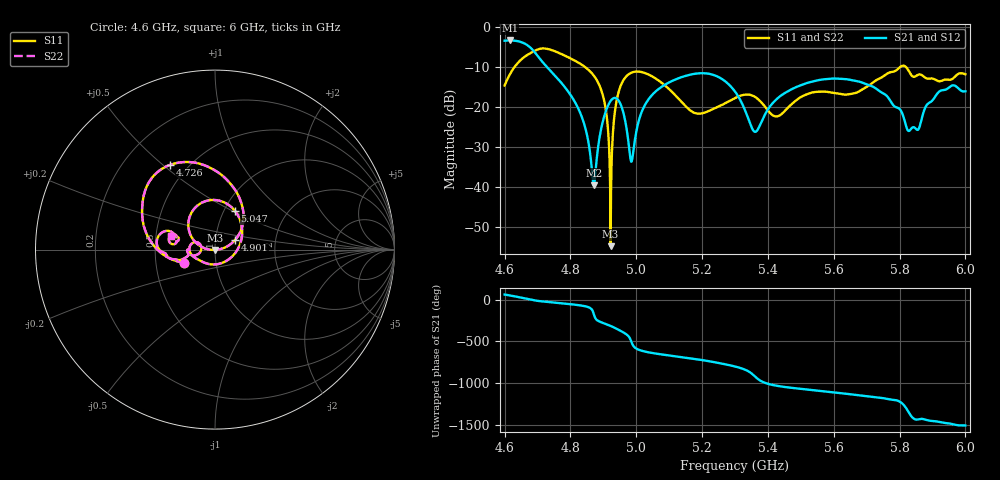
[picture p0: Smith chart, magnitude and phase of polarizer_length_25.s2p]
! TOUCHSTONE file generated by CST MICROWAVE STUDIO
! Date and time: Sun Dec  1 17:17:05 2024
! Project name: test_tuning.cst
! Parameters = {airCoaxOuterDiameter=3; chamferAngle=45; chamferWidth=24; connectorLength=10; drillingHoleDiameter=4.1; feedLength=60; flareDiameter=130; flareLength=70; gratingDistance=0; gratingGap=1.90274; outletLength=30; polarizerLength=112; probe1Diameter=1.3; probe1Distance=14; probe1Length=1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
! Header version: 2024
! Port assignment regex: !\s*Touchstone port\s*([0-9]+)\s*=\s*(CST MWS port|CST DES external port|CST DES block port)\s*(.+)\s* \(\"(.*)\"\)(\s*mode\s*([0-9]+))?.*
! Touchstone port assignment:
! Touchstone port 1 = CST MWS port 1 ("Input1")
! Touchstone port 2 = CST MWS port 2 ("Input2")
# GHz S MA R 50
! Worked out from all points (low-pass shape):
!   1001 points, 4.6 GHz to 6 GHz, reference 50 ohm
!   highest |S21| = -3.39 dB at 4.615 GHz (marker M1); lowest = -39.6 dB at 4.872 GHz (marker M2)
!   |S21| within 3 dB of the highest: start of sweep to 4.692 GHz
!   lowest |S11| = -54.8 dB at 4.922 GHz (marker M3), VSWR 1.00, Z = 50.1 - j0.166 ohm
!   |S11| at or under -10 dB: start of sweep to 4.63 GHz; 4.844 GHz to 5.802 GHz (958.4 MHz wide, 18 % of centre); 5.819 GHz to end of sweep
!   |S22| runs from -54.8 to -5.4 dB; largest |S21 - S12| = 9.6e-07
!   S11 on the Smith chart (normalised r, x): 4.6 GHz: 0.70, -0.11; 4.726 GHz: 0.40, +0.53; 4.901 GHz: 1.25, +0.14; 5.047 GHz: 1.12, +0.52; 6 GHz: 0.60, +0.09
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4.6  0.1854 -156.4  0.6723 61.9  0.6723 61.9  0.1854 -156.4
4.6154  0.2529 -168.3  0.6772 51.5  0.6772 51.5  0.2529 -168.3
4.6644  0.4339 158.1  0.6078 13.5  0.6078 13.5  0.4339 158.1
4.726  0.5345 118.1  0.3245 -25.0  0.3245 -25.0  0.5345 118.1
4.8338  0.3382 68.7  0.07641 -70.7  0.07641 -70.7  0.3382 68.7
4.8716  0.2445 49.3  0.01047 179.0  0.01047 179.0  0.2445 49.3
4.901  0.1273 26.2  0.07214 78.8  0.07214 78.8  0.1273 26.2
4.922  0.001819 -65.8  0.1187 45.8  0.1187 45.8  0.001819 -65.8
4.9444  0.1431 153.1  0.1231 2.7  0.1231 2.7  0.1431 153.1
4.985  0.2676 109.2  0.02064 -143.4  0.02064 -143.4  0.2676 109.2
5.013  0.2745 86.3  0.07933 111.9  0.07933 111.9  0.2745 86.3
5.0466  0.2427 62.8  0.1389 81.7  0.1389 81.7  0.2427 62.8
5.0676  0.2141 48.9  0.1671 68.4  0.1671 68.4  0.2141 48.9
5.1824  0.08298 -69.1  0.261 6.7  0.261 6.7  0.08297 -69.1
5.3  0.1289 -163.5  0.1558 -81.5  0.1558 -81.5  0.1289 -163.5
5.3616  0.1328 164.8  0.04883 155.6  0.04883 155.6  0.1328 164.8
5.4274  0.07617 177.5  0.1261 46.7  0.1261 46.7  0.07617 177.5
5.5338  0.1511 -172.1  0.2069 -4.3  0.2069 -4.3  0.1511 -172.1
5.7676  0.2675 -171.7  0.1272 -114.4  0.1272 -114.4  0.2675 -171.7
5.8292  0.2754 157.9  0.05016 77.4  0.05016 77.4  0.2754 157.9
5.9216  0.2092 164.8  0.1569 -28.5  0.1569 -28.5  0.2092 164.8
6  0.2561 163.3  0.1567 -69.2  0.1567 -69.2  0.2561 163.3
